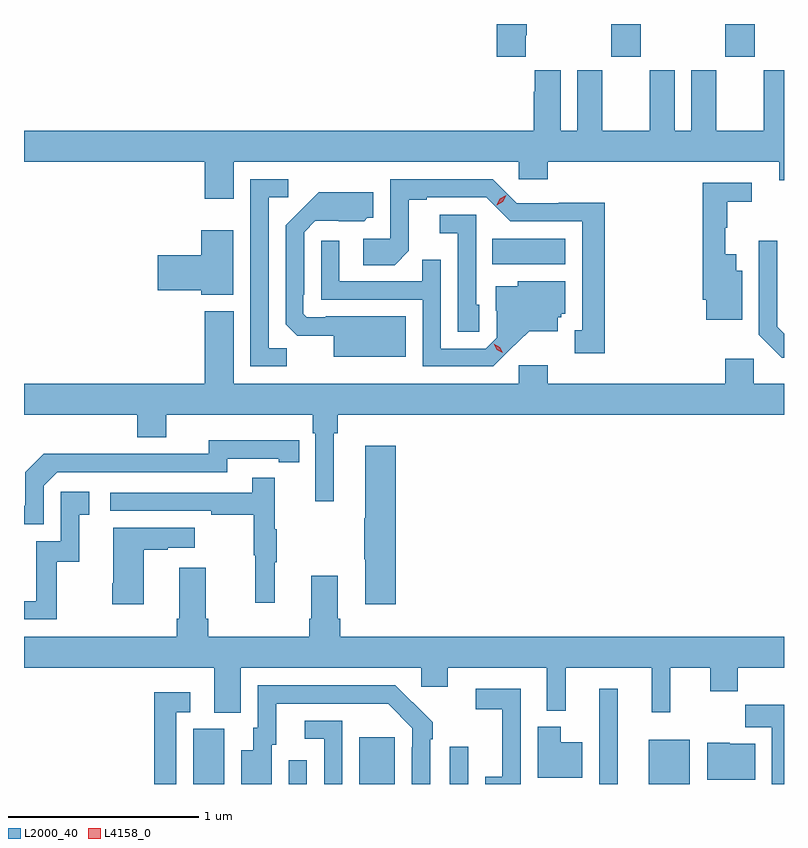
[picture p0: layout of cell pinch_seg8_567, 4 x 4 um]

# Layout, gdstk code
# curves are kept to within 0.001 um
import gdstk
lib = gdstk.Library(unit=1e-6, precision=1e-09)
def R(c, l, rs):  # rectangles x0, y0, x1, y1
    for r in rs: c.add(gdstk.rectangle(r[:2], r[2:], *l))
def P(c, l, *ps):  # polygons
    for p in ps: c.add(gdstk.Polygon(p, *l))
L2000_40 = (2000, 40)
L4158_0 = (4158, 0)

pinch_seg8_567 = lib.new_cell('pinch_seg8_567')
R(pinch_seg8_567, L2000_40, [(147.338,1082.589,147.502,1082.88), (147.84,1082.589,147.936,1082.713), (148.211,1082.589,148.399,1082.836), (148.689,1082.589,148.785,1082.785), (149.475,1082.589,149.572,1083.091), (149.735,1082.589,149.95,1082.821), (148.912,1085.324,149.296,1085.458), (149.539,1086.417,149.694,1086.589), (150.139,1086.417,150.294,1086.589)])
P(pinch_seg8_567, L2000_40, [(149.089,1086.529),(149.094,1086.529),(149.094,1086.589),(148.934,1086.589),(148.934,1086.417),(149.089,1086.417)],
  [(147.55,1085.864),(149.052,1085.864),(149.052,1085.771),(149.204,1085.771),(149.204,1085.864),(150.422,1085.864),(150.422,1085.766),(150.447,1085.766),(150.447,1086.346),(150.341,1086.346),(150.341,1086.028),(150.091,1086.028),(150.091,1086.346),(149.96,1086.346),(149.96,1086.028),(149.872,1086.028),(149.872,1086.346),(149.741,1086.346),(149.741,1086.028),(149.491,1086.028),(149.491,1086.346),(149.36,1086.346),(149.36,1086.028),(149.272,1086.028),(149.272,1086.346),(149.135,1086.346),(149.135,1086.233),(149.129,1086.233),(149.129,1086.028),(146.447,1086.028),(146.447,1085.864),(147.398,1085.864),(147.398,1085.67),(147.55,1085.67)],
  [(149.503,1085.648),(149.262,1085.648),(149.262,1085.646),(149.04,1085.646),(148.914,1085.772),(148.374,1085.772),(148.374,1085.46),(148.233,1085.46),(148.233,1085.32),(148.397,1085.32),(148.473,1085.396),(148.473,1085.664),(148.567,1085.664),(148.567,1085.676),(148.881,1085.676),(149.007,1085.55),(149.384,1085.55),(149.384,1084.977),(149.345,1084.977),(149.345,1084.857),(149.503,1084.857)],
  [(147.831,1084.883),(147.735,1084.883),(147.735,1085.676),(147.838,1085.676),(147.838,1085.772),(147.639,1085.772),(147.639,1084.788),(147.831,1084.788)],
  [(150.226,1085.29),(150.196,1085.29),(150.196,1085.377),(150.137,1085.377),(150.137,1085.517),(150.148,1085.517),(150.148,1085.653),(150.277,1085.653),(150.277,1085.754),(150.019,1085.754),(150.019,1085.137),(150.038,1085.137),(150.038,1085.033),(150.226,1085.033)],
  [(148.456,1085.05),(148.036,1085.05),(148.036,1085.046),(147.936,1085.046),(147.918,1085.064),(147.918,1085.164),(147.921,1085.164),(147.921,1085.493),(147.981,1085.553),(148.238,1085.552),(148.254,1085.568),(148.285,1085.568),(148.285,1085.704),(147.997,1085.704),(147.825,1085.53),(147.825,1085.008),(147.884,1084.949),(148.076,1084.949),(148.076,1084.838),(148.456,1084.838)],
  [(148.842,1085.112),(148.827,1085.112),(148.827,1085.586),(148.635,1085.586),(148.635,1085.489),(148.731,1085.489),(148.731,1084.969),(148.842,1084.969)],
  [(147.547,1085.503),(147.38,1085.503),(147.38,1085.372),(147.15,1085.372),(147.15,1085.189),(147.38,1085.189),(147.38,1085.165),(147.547,1085.165)],
  [(149.002,1084.871),(149.105,1084.973),(149.257,1084.973),(149.257,1085.046),(149.274,1085.046),(149.274,1085.064),(149.296,1085.064),(149.296,1085.236),(149.046,1085.236),(149.046,1085.209),(148.931,1085.209),(148.931,1085.08),(148.935,1085.08),(148.935,1084.938),(148.878,1084.881),(148.641,1084.881),(148.641,1085.348),(148.543,1085.348),(148.543,1085.235),(148.107,1085.235),(148.107,1085.449),(148.011,1085.449),(148.011,1085.139),(148.545,1085.139),(148.545,1084.788),(148.918,1084.788)],
  [(150.447,1084.959),(150.411,1084.995),(150.411,1085.449),(150.315,1085.449),(150.315,1084.953),(150.436,1084.832),(150.447,1084.832)],
  [(148.078,1084.436),(148.097,1084.436),(148.097,1084.532),(150.447,1084.532),(150.447,1084.696),(150.288,1084.696),(150.288,1084.828),(150.137,1084.828),(150.137,1084.696),(149.204,1084.696),(149.204,1084.792),(149.052,1084.792),(149.052,1084.696),(147.55,1084.696),(147.55,1085.077),(147.398,1085.077),(147.398,1084.696),(146.447,1084.696),(146.447,1084.532),(147.044,1084.532),(147.044,1084.415),(147.196,1084.415),(147.196,1084.532),(147.968,1084.532),(147.968,1084.436),(147.981,1084.436),(147.981,1084.077),(148.078,1084.077)],
  [(146.55,1084.158),(146.622,1084.23),(147.516,1084.23),(147.516,1084.302),(147.788,1084.302),(147.788,1084.282),(147.896,1084.282),(147.896,1084.398),(147.42,1084.399),(147.42,1084.326),(146.96,1084.326),(146.96,1084.328),(146.552,1084.328),(146.454,1084.23),(146.454,1084.053),(146.447,1084.053),(146.447,1083.957),(146.55,1083.957)],
  [(148.403,1084.369),(148.244,1084.369),(148.244,1083.989),(148.237,1083.989),(148.237,1083.772),(148.244,1083.772),(148.244,1083.534),(148.403,1083.534)],
  [(147.767,1083.755),(147.778,1083.755),(147.778,1083.929),(147.767,1083.929),(147.767,1084.201),(147.649,1084.201),(147.649,1084.122),(146.901,1084.122),(146.901,1084.026),(147.433,1084.026),(147.433,1084.006),(147.657,1084.006),(147.657,1083.792),(147.664,1083.792),(147.664,1083.543),(147.767,1083.543)],
  [(146.62,1083.759),(146.738,1083.759),(146.738,1084.005),(146.791,1084.005),(146.791,1084.126),(146.64,1084.126),(146.64,1083.867),(146.511,1083.867),(146.511,1083.552),(146.447,1083.552),(146.447,1083.456),(146.62,1083.456)],
  [(147.076,1083.823),(147.203,1083.823),(147.203,1083.833),(147.346,1083.833),(147.346,1083.937),(146.918,1083.937),(146.918,1083.646),(146.911,1083.646),(146.911,1083.534),(147.076,1083.534)],
  [(147.589,1083.2),(148.539,1083.2),(148.539,1083.102),(148.678,1083.102),(148.678,1083.2),(149.198,1083.2),(149.198,1082.975),(149.297,1082.975),(149.297,1083.2),(149.75,1083.2),(149.75,1082.967),(149.849,1082.967),(149.849,1083.2),(150.059,1083.2),(150.059,1083.076),(150.203,1083.076),(150.203,1083.2),(150.447,1083.2),(150.447,1083.364),(148.112,1083.364),(148.112,1083.46),(148.099,1083.46),(148.099,1083.685),(147.959,1083.685),(147.959,1083.46),(147.947,1083.46),(147.947,1083.364),(147.416,1083.364),(147.416,1083.46),(147.403,1083.46),(147.403,1083.727),(147.263,1083.727),(147.263,1083.46),(147.251,1083.46),(147.251,1083.364),(146.447,1083.364),(146.447,1083.2),(147.449,1083.2),(147.449,1082.965),(147.589,1082.965)],
  [(147.751,1082.796),(147.775,1082.796),(147.775,1083.012),(148.363,1083.012),(148.491,1082.883),(148.491,1082.783),(148.488,1082.783),(148.488,1082.589),(148.584,1082.589),(148.584,1082.825),(148.599,1082.825),(148.599,1082.913),(148.402,1083.108),(147.678,1083.108),(147.678,1082.886),(147.653,1082.886),(147.653,1082.767),(147.59,1082.767),(147.59,1082.589),(147.751,1082.589)],
  [(149.061,1083.09),(148.824,1083.09),(148.824,1082.982),(148.964,1082.982),(148.964,1082.626),(148.874,1082.626),(148.874,1082.589),(149.061,1082.589)],
  [(147.249,1082.967),(147.322,1082.967),(147.322,1083.073),(147.133,1083.073),(147.133,1082.589),(147.249,1082.589)],
  [(150.447,1083.007),(150.244,1083.007),(150.244,1082.888),(150.383,1082.888),(150.383,1082.589),(150.447,1082.589)],
  [(148.122,1082.922),(147.924,1082.922),(147.924,1082.826),(148.026,1082.826),(148.026,1082.589),(148.122,1082.589)],
  [(149.386,1082.809),(149.272,1082.809),(149.272,1082.89),(149.15,1082.89),(149.15,1082.621),(149.386,1082.621)],
  [(150.295,1082.8),(150.162,1082.8),(150.162,1082.806),(150.044,1082.806),(150.044,1082.612),(150.295,1082.612)])
P(pinch_seg8_567, L4158_0, [(148.935,1085.636),(148.935,1085.636),(148.952,1085.668),(148.984,1085.687),(148.984,1085.687),(148.984,1085.687),(148.967,1085.654),(148.935,1085.636)],
  [(148.966,1084.859),(148.936,1084.875),(148.919,1084.905),(148.919,1084.905),(148.919,1084.905),(148.95,1084.889),(148.966,1084.86),(148.966,1084.859)])

lib.write_gds('pinch_seg8_567.gds')
